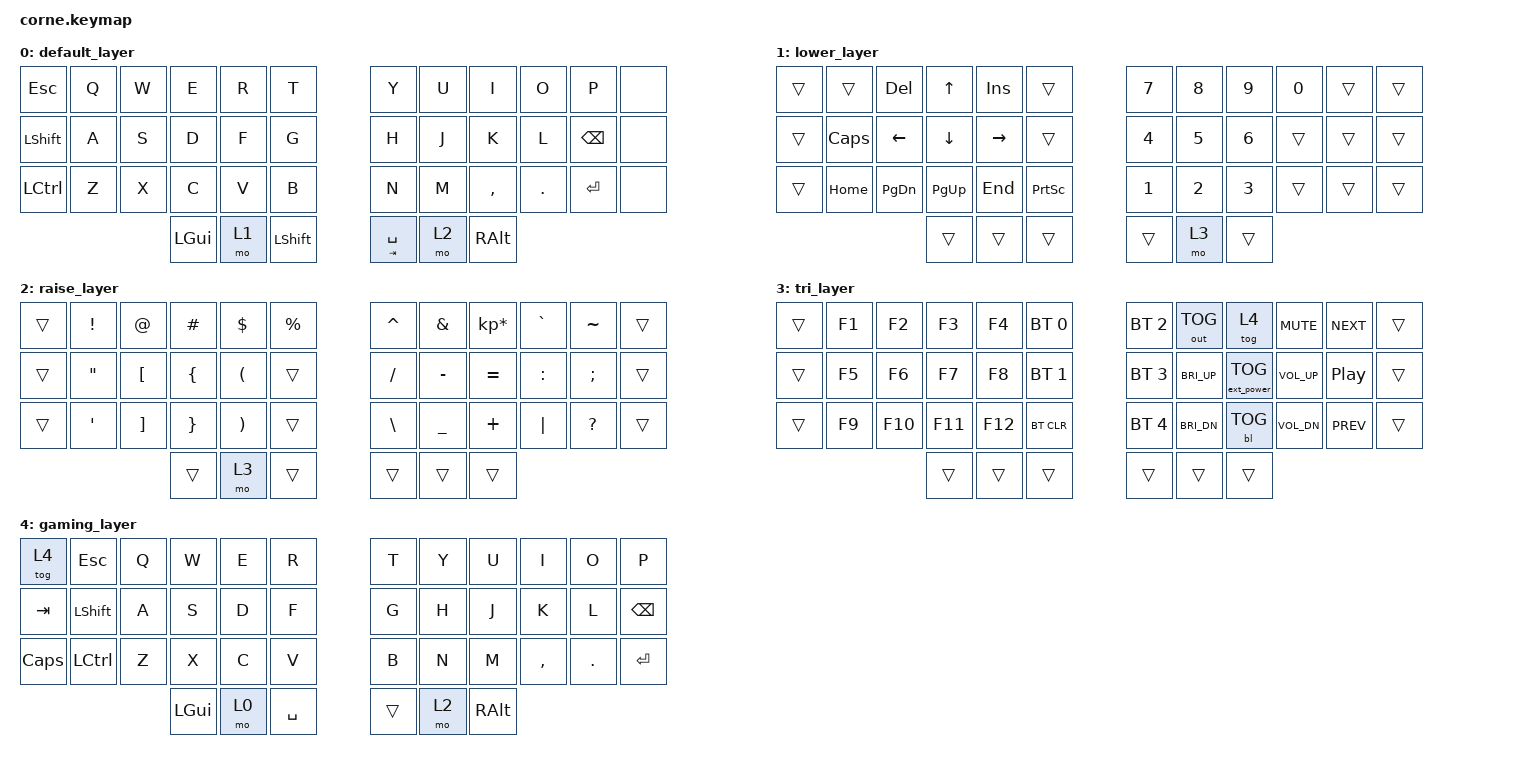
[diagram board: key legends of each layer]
/*
 * Custom Binding
 * Date: 2023.28.08
 * Creator: Colm Dooley
 */

#include <behaviors.dtsi>
#include <dt-bindings/zmk/keys.h>
#include <dt-bindings/zmk/bt.h>
#include <dt-bindings/zmk/outputs.h>
#include <dt-bindings/zmk/ext_power.h>
#include <dt-bindings/zmk/backlight.h>
&mt {
    tapping-term-ms = <400>;
};
/ {
        keymap {
                compatible = "zmk,keymap";

                default_layer {
// -----------------------------------------------------------------------------------------
// |  ESC |  Q  |  W  |  E  |  R  |  T  |       |  Y  |  U   |  I  |  O  |  P  |      |
// | CTRL |  A  |  S  |  D  |  F  |  G  |       |  H  |  J   |  K  |  L  | BSPC|      |
// | SHFT |  Z  |  X  |  C  |  V  |  B  |       |  N  |  M   |  ,  |  .  |ENTER|      |
//                    | GUI | LWR | SHFT |       | TAB/Spc | RSE  | ALT |
                        bindings = <
   &kp ESC   &kp Q &kp W &kp E &kp R &kp T      &kp Y &kp U  &kp I     &kp O   &kp P    &none
   &kp LSHFT &kp A &kp S &kp D &kp F &kp G      &kp H &kp J  &kp K     &kp L   &kp BSPC &none
   &kp LCTRL &kp Z &kp X &kp C &kp V &kp B      &kp N &kp M  &kp COMMA &kp DOT &kp RET &none
                  &kp LGUI &mo 1 &kp LSHFT  &mt TAB SPC &mo 2 &kp RALT
                        >;
                };
                lower_layer {
// -----------------------------------------------------------------------------------------
// |  ESC |     | DEL |  UP  |  INS  |     |   |  7  |  8  |  9  |  0  |     |      |
// | SHFT | CAPS| LEFT| DOWN | RIGHT |     |   |  4  |  5  |  6  |     |     |      |
// | CTLR | Home|PG_Dn|PG_Up | End   |PScrn|   |  1  |  2  |  3  |     |     |      |
//                    | GUI  |  LWR  |SHFT |   | Tab/Spce|  TRI  | ALT |
                        bindings = <
   &trans &trans    &kp DEL      &kp UP       &kp INS       &trans         &kp N7   &kp N8   &kp N9  &kp N0   &trans  &trans
   &trans &kp CAPS  &kp LEFT     &kp DOWN     &kp RIGHT     &trans         &kp N4   &kp N5   &kp N6  &trans   &trans  &trans
   &trans &kp HOME  &kp PG_DN    &kp PG_UP    &kp END       &kp PSCRN      &kp N1   &kp N2   &kp N3  &trans   &trans  &trans
                                 &trans       &trans        &trans     	   &trans   &mo 3    &trans
                        >;
                };

                raise_layer {
// -----------------------------------------------------------------------------------------
// |  ESC |  !  |  @  |  #  |  $  |  %  |   |  ^  |  &  |  *  |  `  |  ~  |      |
// | SHFT |  "  |  [  |  {  |  (  |     |   |  /  |  -  |  =  |  :  |  ;  |      |
// | CTLR |  '  |  ]  |  }  |  )  |     |   |  \  |  _  |  +  | "|" |  ?  |      |
//                    | GUI | TRI | SHFT|   |TAB/Spc| RSE | ALT |
                        bindings = <
   &trans &kp EXCL  &kp AT    &kp HASH  &kp DLLR  &kp PRCNT   &kp CARET &kp AMPS  &kp KP_MULTIPLY  &kp GRAVE  &kp TILDE &trans
   &trans &kp DQT   &kp LBKT  &kp LBRC  &kp LPAR  &trans      &kp FSLH  &kp MINUS &kp EQUAL 	   &kp COLON  &kp SEMI  &trans
   &trans &kp SQT   &kp RBKT  &kp RBRC  &kp RPAR  &trans      &kp BSLH  &kp UNDER &kp PLUS  	   &kp PIPE   &kp QMARK &trans
							  &trans    &mo 3   &trans      &trans   &trans    &trans
                        >;
                };
                tri_layer {
// -----------------------------------------------------------------------------------------
// |  ESC |  F1  |  F2  |  F3  |  F4  | Prof 0 |   | Prof 2 |OUT Tog|GAME LAY| MUTE |M NEXT|      |
// | SHFT |  F5  |  F6  |  F7  |  F8  | Prof 1 |   | Prof 3 |INC Bri|VCC TOG |Vol Up|M PP  |      |
// | CTLR |  F9  |  F10 |  F11 |  F12 | BT_CLR |   | Prof 4 |DEC Bri|BKLT TOG|Vol Dn|M PREV|      |
//                      | GUI  | TRI  |  SHFT  |   |TAB/Spc| RSE | ALT |
                        bindings = <
   &trans &kp F1  &kp F2    &kp F3  &kp F4  &bt BT_SEL 0	&bt BT_SEL 2  &out OUT_TOG   &tog 4    	&kp C_MUTE    &kp C_NEXT &trans
   &trans &kp F5  &kp F6    &kp F7  &kp F8  &bt BT_SEL 1	&bt BT_SEL 3  &kp C_BRI_UP   &ext_power EP_TOG  &kp C_VOL_UP  &kp C_PP   &trans
   &trans &kp F9  &kp F10   &kp F11 &kp F12 &bt BT_CLR     	&bt BT_SEL 4  &kp C_BRI_DN   &bl BL_TOG   &kp C_VOL_DN  &kp C_PREV &trans
							&trans  &trans  &trans      	&trans        &trans         &trans
                        >;
                };
				gaming_layer {
// -----------------------------------------------------------------------------------------
// |ESC/UNTOG | TAB  |  Q  |  W  |  E  |  R  |      |  T  |  Y  |  U   |  I  |  O  |  P  |
// | CAPS     | SHIFT|  A  |  S  |  D  |  F  |      |  G  |  H  |  J   |  K  |  L  | BSPC|
// | CTRL     | CTRL |  Z  |  X  |  C  |  V  |      |  B  |  N  |  M   |  ,  |  .  |ENTER| 
//                    | GUI | LWR | SPC |       	| TAB/Spc | RSE  | ALT |
                        bindings = <
   &tog 4    &kp ESC   &kp Q &kp W &kp E &kp R    &kp T  &kp Y &kp U  &kp I     &kp O   &kp P    
   &kp TAB   &kp LSHFT &kp A &kp S &kp D &kp F    &kp G  &kp H &kp J  &kp K     &kp L   &kp BSPC 
   &kp CAPS  &kp LCTRL &kp Z &kp X &kp C &kp V    &kp B  &kp N &kp M  &kp COMMA &kp DOT &kp RET 
                          &kp LGUI &mo 0 &kp SPC  &trans &mo 2 &kp RALT
                        >;
                };
        };
};
